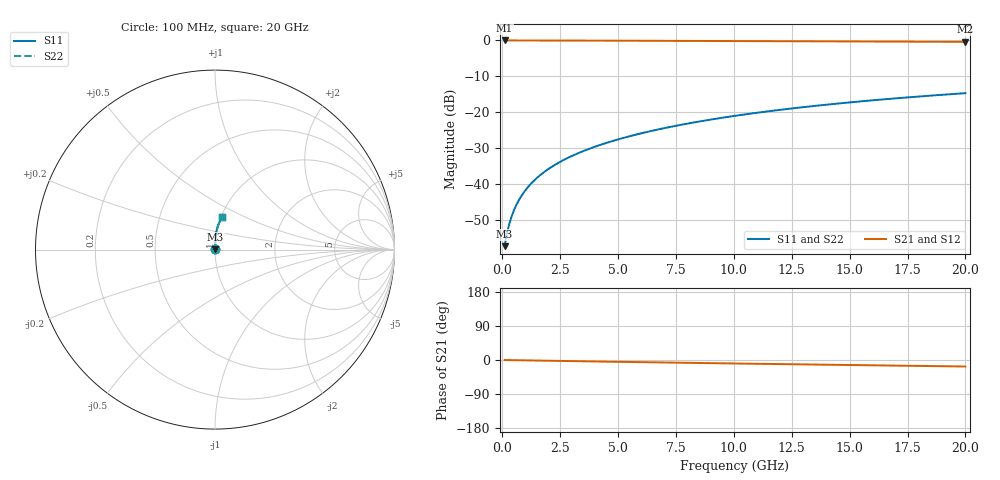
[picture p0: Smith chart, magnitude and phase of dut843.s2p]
! Touchstone file exported from HFSS 2024.1.0
!  File:  C:/UserFiles/LocalFiles/RDL_TSV_Batchsim/temp_RDL_top_843_1779855385.aedt
!  Generated:  12:18:20 PM May 27, 2026
!  Design:  RDL_top
!  Project:  temp_RDL_top_843_1779855385
!  Setup:  Setup1
!  Solution:  Sweep
! Variables:
!  dtsv = 10.80580581um
!  hbump = 3um
!  htsv = 51.86um
!  ldown = 100um
!  lrdl = 225.47um
!  p = 40
!  p1 = 46.72um
!  rhole = 1um
!  t = 450um
!  tdown = 3.915915916um
!  trdl = 4.32um
!  wdown = 15.38538539um
!  wrdl = 20.94um
# GHz S MA R 50.000000
! Terminal data exported
! Port[1] = Box2_T1
! Port[2] = Box2_T2
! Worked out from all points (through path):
!   200 points, 100 MHz to 20 GHz, reference 50 ohm
!   highest |S21| = -0.01 dB at 100 MHz (marker M1); lowest = -0.4 dB at 20 GHz (marker M2)
!   group delay of S21, straight-line fit = 2.37 ps
!   lowest |S11| = -57.2 dB at 100 MHz (marker M3), VSWR 1.00, Z = 50.1 + j0.0888 ohm
!   |S11| at or under -10 dB: start of sweep to end of sweep
!   |S22| runs from -57.2 to -14.7 dB; largest |S21 - S12| = 5e-15
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0.1  0.001378 40.0  0.9989 -0.1  0.9989 -0.1  0.001378 40.0
! Gamma 0 0 0 0
! Port Impedance 50 0 50 0
0.2  0.002057 57.4  0.9989 -0.2  0.9989 -0.2  0.002057 57.4
0.3  0.002796 65.6  0.9988 -0.3  0.9988 -0.3  0.002796 65.6
0.4  0.003552 70.6  0.9987 -0.4  0.9987 -0.4  0.003552 70.6
0.5  0.00432 73.9  0.9987 -0.5  0.9987 -0.5  0.00432 73.9
0.6  0.005096 76.3  0.9986 -0.6  0.9986 -0.6  0.005096 76.3
0.8  0.00667 79.5  0.9985 -0.8  0.9985 -0.8  0.00667 79.5
1.1  0.009063 82.4  0.9983 -1.1  0.9983 -1.1  0.009063 82.4
1.5  0.01229 84.6  0.9979 -1.5  0.9979 -1.5  0.01229 84.5
1.8  0.01474 85.6  0.9976 -1.8  0.9976 -1.8  0.01474 85.6
2.1  0.0172 86.3  0.9973 -2.1  0.9973 -2.1  0.0172 86.3
2.7  0.02218 87.4  0.9964 -2.7  0.9964 -2.7  0.02218 87.4
3.5  0.02895 88.2  0.995 -3.4  0.995 -3.4  0.02895 88.2
4.2  0.035 88.6  0.9935 -4.1  0.9935 -4.1  0.035 88.6
5  0.04206 88.8  0.9918 -4.8  0.9918 -4.8  0.04206 88.8
5.9  0.0502 88.8  0.9897 -5.6  0.9897 -5.6  0.0502 88.8
6.8  0.05851 88.5  0.9875 -6.4  0.9875 -6.4  0.05851 88.5
8.4  0.07362 87.8  0.9836 -7.8  0.9836 -7.8  0.07362 87.8
10.1  0.08999 86.6  0.9795 -9.3  0.9795 -9.3  0.08999 86.6
13.4  0.1221 83.8  0.9717 -12.0  0.9717 -12.0  0.122 83.8
16.7  0.1538 80.8  0.9639 -14.6  0.9639 -14.6  0.1538 80.8
20  0.1849 77.8  0.956 -17.2  0.956 -17.2  0.1849 77.8
